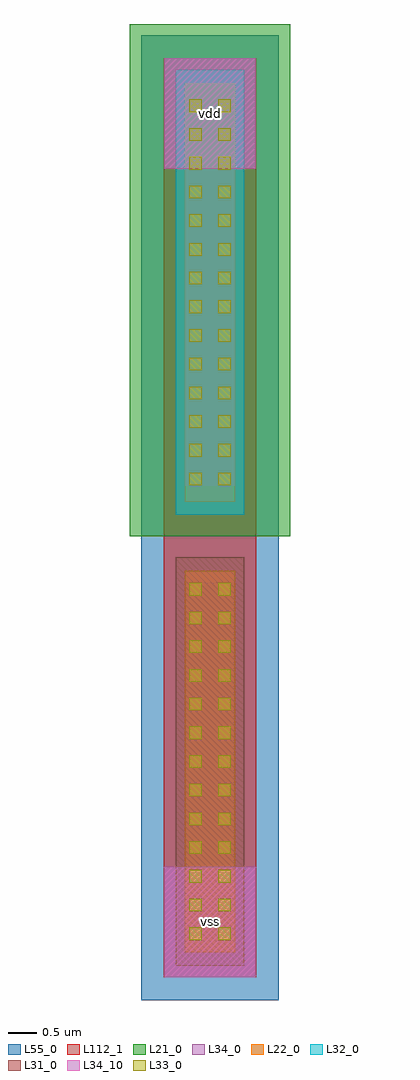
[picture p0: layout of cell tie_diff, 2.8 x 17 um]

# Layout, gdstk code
import gdstk
lib = gdstk.Library(unit=1e-6, precision=1e-09)
def R(c, l, rs):  # rectangles x0, y0, x1, y1
    for r in rs: c.add(gdstk.rectangle(r[:2], r[2:], *l))
def A(c, l, x, y, w, h, nx, ny, dx, dy):  # array of equal rectangles
    R(c, l, [(x+i*dx, y+j*dy, x+i*dx+w, y+j*dy+h) for i in range(nx) for j in range(ny)])
def P(c, l, *ps):  # polygons
    for p in ps: c.add(gdstk.Polygon(p, *l))
L21_0 = (21, 0)
L22_0 = (22, 0)
L31_0 = (31, 0)
L32_0 = (32, 0)
L33_0 = (33, 0)
L34_0 = (34, 0)
L34_10 = (34, 10)
L55_0 = (55, 0)
L112_1 = (112, 1)

tie_diff = lib.new_cell('tie_diff')
R(tie_diff, L21_0, [(-0.6,7.68,2.2,16.6)])
R(tie_diff, L22_0, [(0.36,0.43,1.24,7.08), (0.36,8.28,1.24,15.57)])
R(tie_diff, L31_0, [(0.2,0.2,1.4,7.31)])
R(tie_diff, L32_0, [(0.2,8.05,1.4,15.8)])
A(tie_diff, L33_0, 0.44, 0.645, 0.22, 0.22, 1, 13, 0, 0.5)
A(tie_diff, L33_0, 0.94, 0.645, 0.22, 0.22, 1, 13, 0, 0.5)
A(tie_diff, L33_0, 0.44, 8.565, 0.22, 0.22, 1, 14, 0, 0.5)
A(tie_diff, L33_0, 0.94, 8.565, 0.22, 0.22, 1, 14, 0, 0.5)
P(tie_diff, L34_0, [(0.38,8.56),(0.38,14.08),(0,14.08),(0,16),(1.6,16),(1.6,14.08),(1.22,14.08),(1.22,8.56)],
  [(0,0),(0,1.92),(0.38,1.92),(0.38,6.87),(1.22,6.87),(1.22,1.92),(1.6,1.92),(1.6,0)])
R(tie_diff, L34_10, [(0,0,1.6,1.92), (0,14.08,1.6,16)])
R(tie_diff, L55_0, [(-0.4,-0.4,2,16.4)])
R(tie_diff, L112_1, [(-0.005,-0.005,1.605,16.005)])
tie_diff.add(gdstk.Label('vdd', (0.8,15.04), layer=34, texttype=10))
tie_diff.add(gdstk.Label('vss', (0.8,0.96), layer=34, texttype=10))

lib.write_gds('tie_diff.gds')
